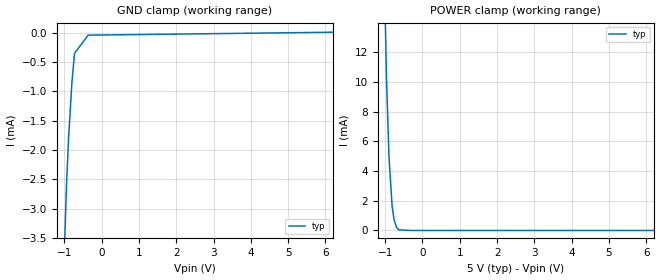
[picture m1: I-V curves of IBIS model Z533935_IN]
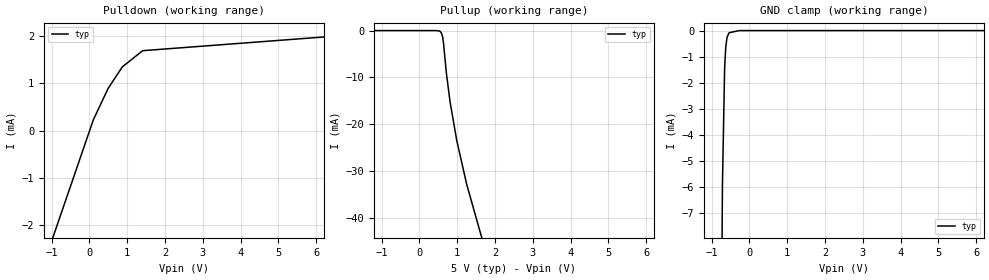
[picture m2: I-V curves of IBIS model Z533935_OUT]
| YOU ARE ONLY AUTHORIZED TO USE THIS SOFTWARE
| ACCORDING TO LICENSOR'S LICENSE RESTRICTIONS.
[IBIS Ver] 3.1
[File Name] mc14513bcp.ibs
[File Rev] 2.0
[Source] Measured and created by ICX Technology
[Date] Friday 7/14/00 9:07:56 AM
[Copyright]
| (C) COPYRIGHT 1993-2000
| MENTOR GRAPHICS CORPORATION
| ICX STANDARD LIBRARY, ICX PROJECT MODELING,
| ICX CUSTOM MODELING, ICX VENDOR MODEL
| ALL RIGHTS RESERVED.
| THE FOLLOWING ARE TRADEMARKS OR SERVICE MARKS OF
| MENTOR GRAPHICS CORPORATION:ICX (R), ICX STANDARD
| LIBRARY(R), ICX PROJECT MODELING(R), ICX CUSTOM
| MODELING(R), qualityIBIS(TM), MODELVIEWER(TM),
| AND MODELEDITOR(TM)
| ALL COPIES OF SOFTWARE, INCLUDING BUT NOT LIMITED TO
| ANY MODIFICATIONS, ENHANCEMENTS OR DERIVATIVE WORKS,
| MUST CONTAIN ALL MENTOR GRAPHICS CORPORATION'S
| NOTICES AND LEGENDS, INCLUDING THOSE EMBEDDED IN
| SOFTWARE AND THOSE AFFIXED TO SOFTWARE MEDIUM
| AND CONTAINER, AS RECEIVED FROM MENTOR GRAPHICS
| CORPORATION.
|  ZAP Model Builder 2.7
[Component] MC14513BCP
[Manufacturer] OnSemiconductor
[Package]
| variable   typ   min   max
R_pkg  .218ohms NA NA
L_pkg  6.092nH NA NA
C_pkg  1.353pF NA NA
[Pin] signal_name  model_name  R_pin  L_pin C_pin
1 B Z533935_IN .232 9.759n 1.869p
2 C Z533935_IN .224 7.259n 1.579p
3 _LT Z533935_IN .216 5.259n 1.289p
4 _BI Z533935_IN .208 3.759n .999p
5 LE Z533935_IN .2 2.759n .709p
6 D Z533935_IN .208 3.759n .999p
7 A Z533935_IN .216 5.259n 1.289p
8 RB Z533935_IN .224 7.259n 1.579p
9 VSS POWER .232 9.759n 1.869p
10 RB Z533935_OUT .232 9.759n 1.869p
11 E Z533935_OUT .224 7.259n 1.579p
12 D Z533935_OUT .216 5.259n 1.289p
13 C Z533935_OUT .208 3.759n .999p
14 B Z533935_OUT .2 2.759n .709p
15 A Z533935_OUT .208 3.759n .999p
16 G Z533935_OUT .216 5.259n 1.289p
17 F Z533935_OUT .224 7.259n 1.579p
18 VDD POWER .232 9.759n 1.869p
| Models and submodels in the file (2): Z533935_IN (Input), Z533935_OUT (Output)
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| (C) COPYRIGHT 1993-2000
| MENTOR GRAPHICS CORPORATION
| ICX STANDARD LIBRARY, ICX PROJECT MODELING,
| ICX CUSTOM MODELING, ICX VENDOR MODEL
| ALL RIGHTS RESERVED.
| THE FOLLOWING ARE TRADEMARKS OR SERVICE MARKS OF
| MENTOR GRAPHICS CORPORATION:ICX (R), ICX STANDARD
| LIBRARY(R), ICX PROJECT MODELING(R), ICX CUSTOM
| MODELING(R), qualityIBIS(TM), MODELVIEWER(TM),
| AND MODELEDITOR(TM)
| ALL COPIES OF SOFTWARE, INCLUDING BUT NOT LIMITED TO
| ANY MODIFICATIONS, ENHANCEMENTS OR DERIVATIVE WORKS,
| MUST CONTAIN ALL MENTOR GRAPHICS CORPORATION'S
| NOTICES AND LEGENDS, INCLUDING THOSE EMBEDDED IN
| SOFTWARE AND THOSE AFFIXED TO SOFTWARE MEDIUM
| AND CONTAINER, AS RECEIVED FROM MENTOR GRAPHICS
| CORPORATION.
| Model Application Version 1.89 2/18/99.
[Model] Z533935_IN
Model_type Input
Vinl = 1.500V
Vinh = 3.500V
C_comp 4.000pF NA NA
| variable typ   min   max
[Voltage Range] 5.000V NA NA
[GND Clamp Reference] 0.000V NA NA
[POWER Clamp Reference] 5.000V NA NA
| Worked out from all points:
|   GND clamp passes 1 mA (typ) near -0.81 V on its own axis
|   POWER clamp passes 1 mA (typ) near -0.78 V on its own axis
[GND Clamp]
-5V       -114.5mA   NA         NA
-1.04V    -4.527mA   NA         NA
-942.2mV  -2.596mA   NA         NA
-888.3mV  -1.813mA   NA         NA
-799.5mV  -862.5uA   NA         NA
-726.7mV  -351uA     NA         NA
-363.4mV  -41.73uA   NA         NA
10V       38.14uA    NA         NA
[POWER Clamp]
-5V       508.6mA    NA         NA
-966mV    10.34mA    NA         NA
-898mV    4.961mA    NA         NA
-814mV    1.631mA    NA         NA
-761mV    715.4uA    NA         NA
-688mV    171.7uA    NA         NA
-630mV    41.5uA     NA         NA
-315mV    0A         NA         NA
10V       0A         NA         NA
| (C) COPYRIGHT 1993-2000
| MENTOR GRAPHICS CORPORATION
| ICX STANDARD LIBRARY, ICX PROJECT MODELING,
| ICX CUSTOM MODELING, ICX VENDOR MODEL
| ALL RIGHTS RESERVED.
| THE FOLLOWING ARE TRADEMARKS OR SERVICE MARKS OF
| MENTOR GRAPHICS CORPORATION:ICX (R), ICX STANDARD
| LIBRARY(R), ICX PROJECT MODELING(R), ICX CUSTOM
| MODELING(R), qualityIBIS(TM), MODELVIEWER(TM),
| AND MODELEDITOR(TM)
| ALL COPIES OF SOFTWARE, INCLUDING BUT NOT LIMITED TO
| ANY MODIFICATIONS, ENHANCEMENTS OR DERIVATIVE WORKS,
| MUST CONTAIN ALL MENTOR GRAPHICS CORPORATION'S
| NOTICES AND LEGENDS, INCLUDING THOSE EMBEDDED IN
| SOFTWARE AND THOSE AFFIXED TO SOFTWARE MEDIUM
| AND CONTAINER, AS RECEIVED FROM MENTOR GRAPHICS
| CORPORATION.
| Model Application Version 1.89 2/18/99.
[Model] Z533935_OUT
Model_type Output
Vref=0.000V
Rref=500.0Mohms
Cref=50.00pF
Vmeas=2.500V
C_comp 8.000pF NA NA
| variable typ   min   max
[Voltage Range] 5.000V NA NA
[POWER Clamp Reference] 5.000V NA NA
[Pullup Reference] 5.000V NA NA
[Pulldown Reference] 0.000V NA NA
[GND Clamp Reference] 0.000V NA NA
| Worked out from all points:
|   slope of the pulldown table from 0 to 0.75 V, typ, clamps not added: 616 ohm
|   slope of the pullup table from 0 to 0.75 V, typ, clamps not added: 66 ohm
|   GND clamp passes 1 mA (typ) near -0.64 V on its own axis
[GND Clamp]
-5V       -863mA     NA         NA
-712.5mV  -5.908mA   NA         NA
-655.5mV  -1.466mA   NA         NA
-625mV    -627.7uA   NA         NA
-591.1mV  -258.8uA   NA         NA
-537mV    -83uA      NA         NA
-268.5mV  0A         NA         NA
10V       0A         NA         NA
[Pulldown]
-5V       -11.68mA   NA         NA
105.5mV   229.8uA    NA         NA
498mV     896.7uA    NA         NA
871.9mV   1.35mA     NA         NA
1.409V    1.693mA    NA         NA
10V       2.214mA    NA         NA
[Pullup]
-5V       7.114uA    NA         NA
445mV     7.114uA    NA         NA
508mV     -39.75uA   NA         NA
547mV     -151.8uA   NA         NA
582mV     -507.1uA   NA         NA
615mV     -1.319mA   NA         NA
638mV     -2.665mA   NA         NA
713mV     -9.01mA    NA         NA
811mV     -15.21mA   NA         NA
987mV     -23.45mA   NA         NA
1.251V    -32.89mA   NA         NA
10V       -283mA     NA         NA
[POWER Clamp]
-5V       0A         NA         NA
10V       0A         NA         NA
[Ramp]
| variable typ min max
dV/dt_r 2.623/18.55n NA NA
dV/dt_f 2.623/28.89n NA NA
R_load = 2.500kOhms
